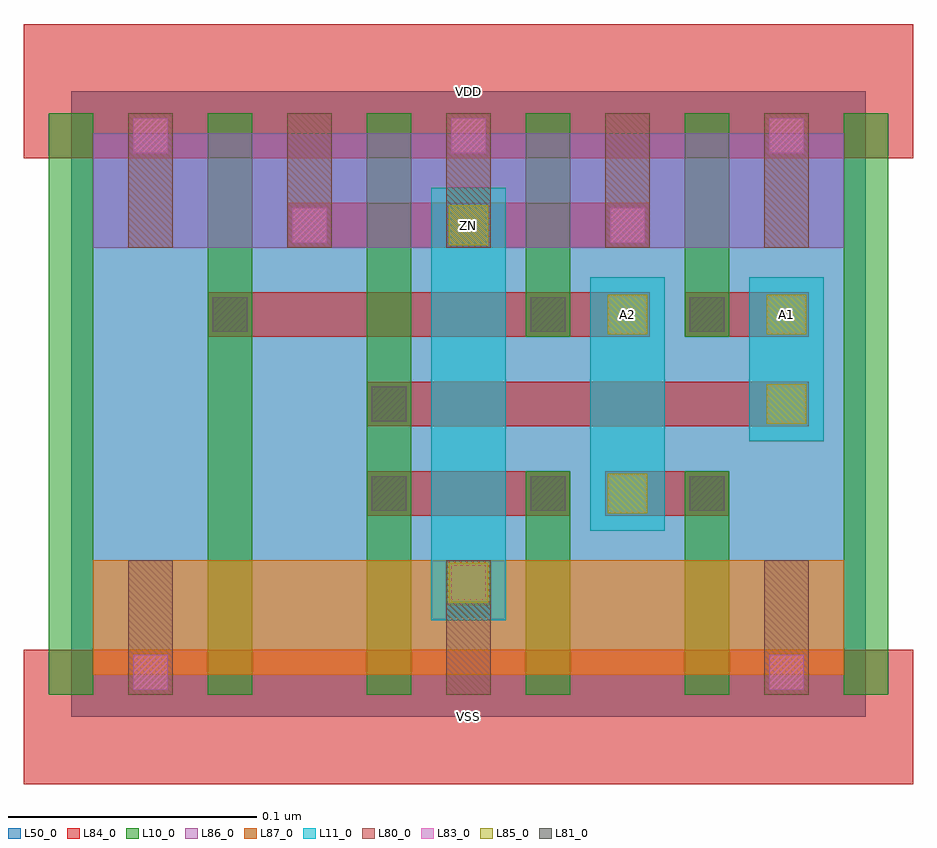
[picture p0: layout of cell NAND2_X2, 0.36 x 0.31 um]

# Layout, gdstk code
import gdstk
lib = gdstk.Library(unit=1e-6, precision=1e-09)
def R(c, l, rs):  # rectangles x0, y0, x1, y1
    for r in rs: c.add(gdstk.rectangle(r[:2], r[2:], *l))
def A(c, l, x, y, w, h, nx, ny, dx, dy):  # array of equal rectangles
    R(c, l, [(x+i*dx, y+j*dy, x+i*dx+w, y+j*dy+h) for i in range(nx) for j in range(ny)])
L10_0 = (10, 0)
L11_0 = (11, 0)
L50_0 = (50, 0)
L80_0 = (80, 0)
L81_0 = (81, 0)
L83_0 = (83, 0)
L84_0 = (84, 0)
L85_0 = (85, 0)
L86_0 = (86, 0)
L87_0 = (87, 0)

nand2_x2 = lib.new_cell('NAND2_X2')
A(nand2_x2, L10_0, -0.009, 0.009, 0.018, 0.234, 3, 1, 0.064, 0)
R(nand2_x2, L10_0, [(0.183,0.009,0.201,0.099), (0.247,0.009,0.265,0.099), (0.311,0.009,0.329,0.243), (0.183,0.153,0.201,0.243), (0.247,0.153,0.265,0.243)])
R(nand2_x2, L11_0, [(0.145,0.039,0.175,0.213), (0.209,0.075,0.239,0.177), (0.273,0.111,0.303,0.177)])
R(nand2_x2, L50_0, [(0,0,0.32,0.252)])
A(nand2_x2, L80_0, 0.023, 0.009, 0.018, 0.054, 3, 1, 0.128, 0)
A(nand2_x2, L80_0, 0.023, 0.189, 0.018, 0.054, 5, 1, 0.064, 0)
A(nand2_x2, L81_0, 0.121, 0.083, 0.014, 0.014, 3, 1, 0.064, 0)
R(nand2_x2, L81_0, [(0.121,0.119,0.135,0.133), (0.057,0.155,0.071,0.169), (0.185,0.155,0.199,0.169), (0.249,0.155,0.263,0.169)])
A(nand2_x2, L83_0, 0.025, 0.227, 0.014, 0.014, 3, 1, 0.128, 0)
R(nand2_x2, L83_0, [(0.025,0.011,0.039,0.025), (0.281,0.011,0.295,0.025), (0.153,0.047,0.167,0.061), (0.089,0.191,0.103,0.205), (0.217,0.191,0.231,0.205)])
R(nand2_x2, L84_0, [(-0.019,-0.027,0.339,0.027), (0.151,0.045,0.169,0.063), (0.119,0.081,0.201,0.099), (0.215,0.081,0.265,0.099), (0.119,0.117,0.297,0.135), (0.055,0.153,0.233,0.171), (0.247,0.153,0.297,0.171), (0.087,0.189,0.233,0.207), (-0.019,0.225,0.339,0.279)])
R(nand2_x2, L85_0, [(0.152,0.046,0.168,0.062), (0.216,0.082,0.232,0.098), (0.28,0.118,0.296,0.134), (0.216,0.154,0.232,0.17), (0.28,0.154,0.296,0.17), (0.152,0.19,0.168,0.206)])
R(nand2_x2, L86_0, [(0.009,0.189,0.311,0.235)])
R(nand2_x2, L87_0, [(0.009,0.017,0.311,0.063)])
nand2_x2.add(gdstk.Label('VDD', (0.16,0.252), layer=88, texttype=0))
nand2_x2.add(gdstk.Label('VSS', (0.16,0), layer=88, texttype=0))
nand2_x2.add(gdstk.Label('ZN', (0.16,0.198), layer=31, texttype=0))
nand2_x2.add(gdstk.Label('A2', (0.224,0.162), layer=31, texttype=0))
nand2_x2.add(gdstk.Label('A1', (0.288,0.162), layer=31, texttype=0))

lib.write_gds('NAND2_X2.gds')
